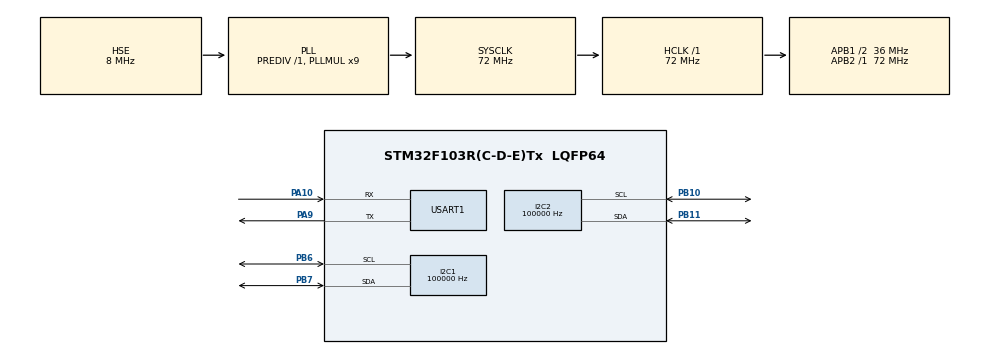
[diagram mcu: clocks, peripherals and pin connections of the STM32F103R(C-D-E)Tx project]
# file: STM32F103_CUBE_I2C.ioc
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Dma.I2C1_RX.0.Direction=DMA_PERIPH_TO_MEMORY
Dma.I2C1_RX.0.Instance=DMA1_Channel7
Dma.I2C1_RX.0.MemDataAlignment=DMA_MDATAALIGN_BYTE
Dma.I2C1_RX.0.MemInc=DMA_MINC_ENABLE
Dma.I2C1_RX.0.Mode=DMA_NORMAL
Dma.I2C1_RX.0.PeriphDataAlignment=DMA_PDATAALIGN_BYTE
Dma.I2C1_RX.0.PeriphInc=DMA_PINC_DISABLE
Dma.I2C1_RX.0.Priority=DMA_PRIORITY_LOW
Dma.I2C1_TX.1.Direction=DMA_MEMORY_TO_PERIPH
Dma.I2C1_TX.1.Instance=DMA1_Channel6
Dma.I2C1_TX.1.MemDataAlignment=DMA_MDATAALIGN_BYTE
Dma.I2C1_TX.1.MemInc=DMA_MINC_ENABLE
Dma.I2C1_TX.1.Mode=DMA_NORMAL
Dma.I2C1_TX.1.PeriphDataAlignment=DMA_PDATAALIGN_BYTE
Dma.I2C1_TX.1.PeriphInc=DMA_PINC_DISABLE
Dma.I2C1_TX.1.Priority=DMA_PRIORITY_LOW
Dma.Request0=I2C1_RX
Dma.Request1=I2C1_TX
Dma.Request2=USART1_RX
Dma.Request3=USART1_TX
Dma.USART1_RX.2.Direction=DMA_PERIPH_TO_MEMORY
Dma.USART1_RX.2.Instance=DMA1_Channel5
Dma.USART1_RX.2.MemDataAlignment=DMA_MDATAALIGN_BYTE
Dma.USART1_RX.2.MemInc=DMA_MINC_ENABLE
Dma.USART1_RX.2.Mode=DMA_NORMAL
Dma.USART1_RX.2.PeriphDataAlignment=DMA_PDATAALIGN_BYTE
Dma.USART1_RX.2.PeriphInc=DMA_PINC_DISABLE
Dma.USART1_RX.2.Priority=DMA_PRIORITY_LOW
Dma.USART1_TX.3.Direction=DMA_MEMORY_TO_PERIPH
Dma.USART1_TX.3.Instance=DMA1_Channel4
Dma.USART1_TX.3.MemDataAlignment=DMA_MDATAALIGN_BYTE
Dma.USART1_TX.3.MemInc=DMA_MINC_ENABLE
Dma.USART1_TX.3.Mode=DMA_NORMAL
Dma.USART1_TX.3.PeriphDataAlignment=DMA_PDATAALIGN_BYTE
Dma.USART1_TX.3.PeriphInc=DMA_PINC_DISABLE
Dma.USART1_TX.3.Priority=DMA_PRIORITY_LOW
I2C1.ClockSpeed=100000
I2C1.OwnAddress=11
I2C2.ClockSpeed=100000
I2C2.OwnAddress=11
Mcu.Family=STM32F1
Mcu.Name=STM32F103R(C-D-E)Tx
Mcu.Package=LQFP64
NVIC.DMA1_Channel4_IRQn=true\:0\:0\:false\:false\:true
NVIC.DMA1_Channel5_IRQn=true\:0\:0\:false\:false\:true
NVIC.DMA1_Channel6_IRQn=true\:0\:0\:false\:false\:true
NVIC.DMA1_Channel7_IRQn=true\:0\:0\:false\:false\:true
NVIC.I2C1_ER_IRQn=true\:0\:0\:false\:false\:true
NVIC.I2C1_EV_IRQn=true\:0\:0\:false\:false\:true
NVIC.I2C2_ER_IRQn=true\:0\:0\:false\:false\:true
NVIC.I2C2_EV_IRQn=true\:0\:0\:false\:false\:true
NVIC.PriorityGroup=NVIC_PRIORITYGROUP_4
NVIC.USART1_IRQn=true\:0\:0\:false\:false\:true
PA10.Mode=Asynchronous
PA10.Signal=USART1_RX
PA13.Mode=JTAG_5_pins
PA13.Signal=SYS_JTMS-SWDIO
PA14.Mode=JTAG_5_pins
PA14.Signal=SYS_JTCK-SWCLK
PA15.Mode=JTAG_5_pins
PA15.Signal=SYS_JTDI
PA9.Mode=Asynchronous
PA9.Signal=USART1_TX
PB10.Mode=I2C
PB10.Signal=I2C2_SCL
PB11.Mode=I2C
PB11.Signal=I2C2_SDA
PB3.Mode=JTAG_5_pins
PB3.Signal=SYS_JTDO-TRACESWO
PB4.Mode=JTAG_5_pins
PB4.Signal=SYS_NJTRST
PB6.Mode=I2C
PB6.Signal=I2C1_SCL
PB7.Mode=I2C
PB7.Signal=I2C1_SDA
PD0-OSC_IN.Mode=HSE-External-Oscillator
PD0-OSC_IN.Signal=RCC_OSC_IN
PD1-OSC_OUT.Mode=HSE-External-Oscillator
PD1-OSC_OUT.Signal=RCC_OSC_OUT
ProjectManager.HeapSize=0x200
ProjectManager.StackSize=0x800
ProjectManager.TargetToolchain=EWARM
RCC.AHBFreq_Value=72000000
RCC.APB1CLKDivider=RCC_HCLK_DIV2
RCC.APB1Freq_Value=36000000
RCC.APB1TimFreq_Value=72000000
RCC.APB2Freq_Value=72000000
RCC.APB2TimFreq_Value=72000000
RCC.HCLKFreq_Value=72000000
RCC.HSIState=RCC_HSI_ON
RCC.PLLMUL=RCC_PLL_MUL9
RCC.PLLSourceVirtual=RCC_PLLSOURCE_HSE
RCC.SYSCLKFreq_VALUE=72000000
RCC.SYSCLKSource=RCC_SYSCLKSOURCE_PLLCLK
RCC.USBFreq_Value=72000000
board=STM32F103_CUBE_I2C

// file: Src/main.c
/**
  ******************************************************************************
  * File Name          : main.c
  * Description        : Main program body
  ******************************************************************************
  *
  * COPYRIGHT(c) 2016 STMicroelectronics
  *
  * Redistribution and use in source and binary forms, with or without modification,
  * are permitted provided that the following conditions are met:
  *   1. Redistributions of source code must retain the above copyright notice,
  *      this list of conditions and the following disclaimer.
  *   2. Redistributions in binary form must reproduce the above copyright notice,
  *      this list of conditions and the following disclaimer in the documentation
  *      and/or other materials provided with the distribution.
  *   3. Neither the name of STMicroelectronics nor the names of its contributors
  *      may be used to endorse or promote products derived from this software
  *      without specific prior written permission.
  *
  * THIS SOFTWARE IS PROVIDED BY THE COPYRIGHT HOLDERS AND CONTRIBUTORS "AS IS"
  * AND ANY EXPRESS OR IMPLIED WARRANTIES, INCLUDING, BUT NOT LIMITED TO, THE
  * IMPLIED WARRANTIES OF MERCHANTABILITY AND FITNESS FOR A PARTICULAR PURPOSE ARE
  * DISCLAIMED. IN NO EVENT SHALL THE COPYRIGHT HOLDER OR CONTRIBUTORS BE LIABLE
  * FOR ANY DIRECT, INDIRECT, INCIDENTAL, SPECIAL, EXEMPLARY, OR CONSEQUENTIAL
  * DAMAGES (INCLUDING, BUT NOT LIMITED TO, PROCUREMENT OF SUBSTITUTE GOODS OR
  * SERVICES; LOSS OF USE, DATA, OR PROFITS; OR BUSINESS INTERRUPTION) HOWEVER
  * CAUSED AND ON ANY THEORY OF LIABILITY, WHETHER IN CONTRACT, STRICT LIABILITY,
  * OR TORT (INCLUDING NEGLIGENCE OR OTHERWISE) ARISING IN ANY WAY OUT OF THE USE
  * OF THIS SOFTWARE, EVEN IF ADVISED OF THE POSSIBILITY OF SUCH DAMAGE.
  *
  ******************************************************************************
  */
#include "main.h"
#include "stm32f1xx_hal.h"
#include "dma.h"
#include "i2c.h"
#include "usart.h"
#include "gpio.h"

/* USER CODE BEGIN Includes */
#include "TaskTimeManager.h"
#include "ProtocolFrame.h"
#include "ComBuff.h"
#include "AS5600.h"
/* USER CODE END Includes */

/* USER CODE BEGIN PV */
/* Private variables ---------------------------------------------------------*/

/* USER CODE END PV */

void SystemClock_Config(void);
void Error_Handler(void);

/* USER CODE BEGIN PFP */
/* Private function prototypes -----------------------------------------------*/

/* USER CODE END PFP */

/* USER CODE BEGIN 0 */
#define AS5600_RAW_ANGLE_H 0x0c //没有处理过的角度
uint8_t sec = 0;
uint8_t rcv_sec = 0;
uint8_t data = 0;
uint8_t addr = 0;
void HAL_I2C_MasterRxCpltCallback(I2C_HandleTypeDef *hi2c)
{
  printf("I2C收到：%X\r\n, ", data);
}

void HAL_I2C_MasterTxCpltCallback(I2C_HandleTypeDef *hi2c){
  printf("I2C发送：%X\r\n", addr);
  //HAL_I2C_Master_Receive_DMA(&hi2c1, 20, &rcv_sec, 1);
}

//void HAL_I2C_MasterRxCpltCallback(I2C_HandleTypeDef *hi2c){
//  printf("HAL_I2C_MasterRxCpltCallback\r\n");
//  HAL_I2C_Master_Receive_DMA(&hi2c1, 20, &rcv_sec, 1);
//}

void HAL_I2C_SlaveTxCpltCallback(I2C_HandleTypeDef *hi2c){
  printf("HAL_I2C_SlaveTxCpltCallback\r\n");

}

void HAL_I2C_SlaveRxCpltCallback(I2C_HandleTypeDef *hi2c){
  printf("HAL_I2C_SlaveRxCpltCallback\r\n");
//  for(uint8_t i = 0;i < 1; i++){
//    printf("%X ", data[i]);
//  }
//  //HAL_I2C_Slave_Receive_DMA(&hi2c1, rcv_sec, 1);
//  HAL_I2C_Slave_Transmit_DMA(&hi2c1, data, 1);
}

void LED_TEST(void){
//  uint8_t data[100] = "123456\r\n";
//  Uart1_DMA_Sender.Write(&Uart1_DMA_Sender, data, 8);
//  memset(data, 0, 8);
//  PRINT_HEAP();
  printf("LED_TEST\r\n");
//  HAL_I2C_Master_Transmit_DMA(&hi2c1, 20, &sec, 1);
//  printf("fa\r\n");
//  HAL_I2C_Master_Receive_DMA(&hi2c1, 20, &rcv_sec, 1);

//  uint8_t i ;
//  for(i = 0; i < UART1_DMA_RECV_SIZE; i++){
//    printf("%X ", Uart1_DMA_Receiver.Data[i]);
//  }
//  printf("\r\n");
  uint8_t addr = AS5600_RAW_ANGLE_H;
  uint8_t data = 0;
  HAL_I2C_Master_Transmit_DMA(&hi2c1, 0x36<<1, &addr, 1);
  HAL_I2C_Master_Receive_DMA(&hi2c1, 0x36<<1, &data, 1);
  printf("%d\r\n", data);
  //uint16_t angle = getRawAngle();
//  printf("%d\r\n", angle);
}

//持续传输发送者缓冲区中的缓冲数据
void SenderKeepTransmit(void){
  Uart1_DMA_Sender.KeepTransmit(&Uart1_DMA_Sender);
}

void PaddingProtocol(void){
	#define BUFFSIZE 100
	int8_t cnt = 0;
	uint8_t data[BUFFSIZE] = {0};
	#if UART1_PROTOCOL_RESOLVER && UART1_DMA_RECEIVER
		if((cnt = Uart1_DMA_Receiver.ReadTo(&Uart1_DMA_Receiver,0xf8,data,BUFFSIZE))>0)
			UART1_Resolver->Protocol_Put(UART1_Resolver,data,cnt);
	#endif
	#if UART2_PROTOCOL_RESOLVER && UART2_DMA_RECEIVER
		if((cnt = Uart2_DMA_Receiver.ReadTo(&Uart2_DMA_Receiver,0xf8,data,BUFFSIZE))>0)
			UART2_Resolver->Protocol_Put(UART2_Resolver,data,cnt);
	#endif
	#if UART3_PROTOCOL_RESOLVER && UART3_DMA_RECEIVER
		if((cnt = Uart3_DMA_Receiver.ReadTo(&Uart3_DMA_Receiver,0xf8,data,BUFFSIZE))>0)
			UART3_Resolver->Protocol_Put(UART3_Resolver,data,cnt);
	#endif
	#if UART4_PROTOCOL_RESOLVER && UART4_DMA_RECEIVER
		if((cnt = Uart4_DMA_Receiver.ReadTo(&Uart4_DMA_Receiver,0xf8,data,BUFFSIZE))>0)
			UART4_Resolver->Protocol_Put(UART4_Resolver,data,cnt);
	#endif
}

/* USER CODE END 0 */

int main(void)
{

  /* MCU Configuration----------------------------------------------------------*/

  /* Reset of all peripherals, Initializes the Flash interface and the Systick. */
  HAL_Init();

  /* Configure the system clock */
  SystemClock_Config();

  /* Initialize all configured peripherals */
  MX_GPIO_Init();
  MX_DMA_Init();
  MX_I2C1_Init();
  MX_I2C2_Init();
  MX_USART1_UART_Init();

  /* USER CODE BEGIN 2 */
  TaskTime_Init();
  ProtocolFrame_Init();
  Log_Init();
  ComBuff_Init();
//  HAL_I2C_Master_Transmit_DMA(&hi2c1, 20, &sec, 1);
  //HAL_UART_Receive_DMA(&huart1, Uart1_DMA_Receiver.Data, Uart1_DMA_Receiver.DMA_BuffSize);

  //HAL_UART_RxCpltCallback(&huart1);
  TaskTime_Add(TaskID++, TimeCycle(0,500), LED_TEST, Count_Mode);
  TaskTime_Add(TaskID++, TimeCycle(0,30), SenderKeepTransmit, Count_Mode);
  //TaskTime_Add(TaskID++, TimeCycle(0,30), PaddingProtocol, Count_Mode);
	TaskTime_Add(TaskID++, TimeCycle(0,30), FetchProtocols, Count_Mode);
//  uint8_t* tes = malloc(500);
//  printf("%p\r\n",tes);
  /* USER CODE END 2 */

  /* Infinite loop */
  while (1)
  {

  /* USER CODE BEGIN 3 */
    TaskTime_Run();
  }
  /* USER CODE END 3 */

}

/** System Clock Configuration
*/
void SystemClock_Config(void)
{

  RCC_OscInitTypeDef RCC_OscInitStruct;
  RCC_ClkInitTypeDef RCC_ClkInitStruct;

    /**Initializes the CPU, AHB and APB busses clocks
    */
  RCC_OscInitStruct.OscillatorType = RCC_OSCILLATORTYPE_HSE;
  RCC_OscInitStruct.HSEState = RCC_HSE_ON;
  RCC_OscInitStruct.HSEPredivValue = RCC_HSE_PREDIV_DIV1;
  RCC_OscInitStruct.HSIState = RCC_HSI_ON;
  RCC_OscInitStruct.PLL.PLLState = RCC_PLL_ON;
  RCC_OscInitStruct.PLL.PLLSource = RCC_PLLSOURCE_HSE;
  RCC_OscInitStruct.PLL.PLLMUL = RCC_PLL_MUL9;
  if (HAL_RCC_OscConfig(&RCC_OscInitStruct) != HAL_OK)
  {
    Error_Handler();
  }

    /**Initializes the CPU, AHB and APB busses clocks
    */
  RCC_ClkInitStruct.ClockType = RCC_CLOCKTYPE_HCLK|RCC_CLOCKTYPE_SYSCLK
                              |RCC_CLOCKTYPE_PCLK1|RCC_CLOCKTYPE_PCLK2;
  RCC_ClkInitStruct.SYSCLKSource = RCC_SYSCLKSOURCE_PLLCLK;
  RCC_ClkInitStruct.AHBCLKDivider = RCC_SYSCLK_DIV1;
  RCC_ClkInitStruct.APB1CLKDivider = RCC_HCLK_DIV2;
  RCC_ClkInitStruct.APB2CLKDivider = RCC_HCLK_DIV1;

  if (HAL_RCC_ClockConfig(&RCC_ClkInitStruct, FLASH_LATENCY_2) != HAL_OK)
  {
    Error_Handler();
  }

    /**Configure the Systick interrupt time
    */
  HAL_SYSTICK_Config(HAL_RCC_GetHCLKFreq()/1000);

    /**Configure the Systick
    */
  HAL_SYSTICK_CLKSourceConfig(SYSTICK_CLKSOURCE_HCLK);

  /* SysTick_IRQn interrupt configuration */
  HAL_NVIC_SetPriority(SysTick_IRQn, 0, 0);
}

void Error_Handler(void)
{
  /* USER CODE BEGIN Error_Handler */
  /* User can add his own implementation to report the HAL error return state */
  while(1)
  {
    Log.error("Error_Handler");
  }
  /* USER CODE END Error_Handler */
}

/************************ (C) COPYRIGHT STMicroelectronics *****END OF FILE****/
